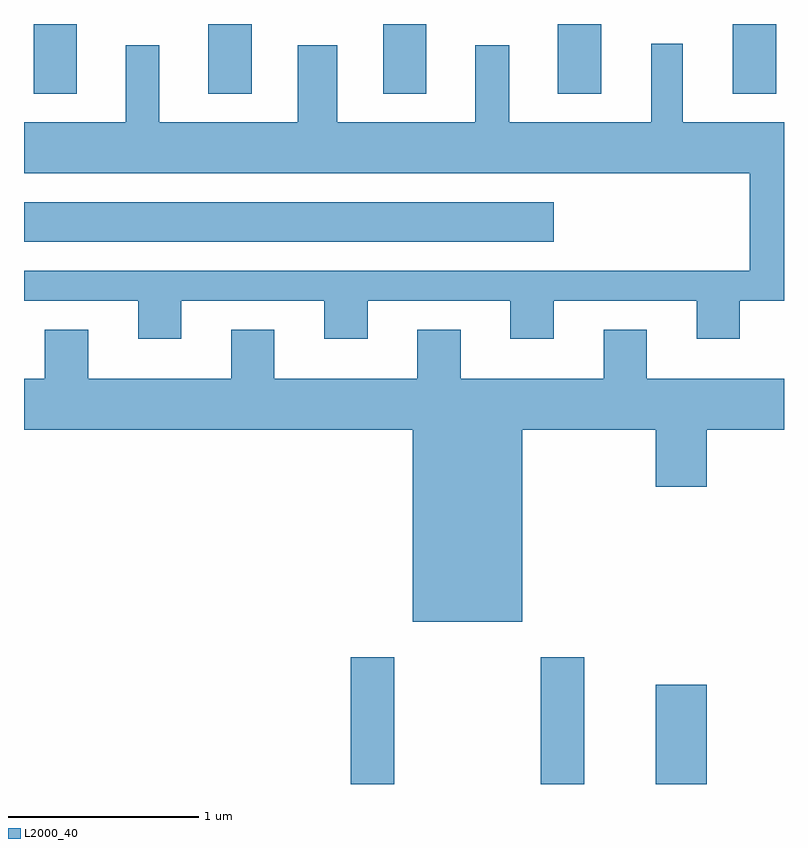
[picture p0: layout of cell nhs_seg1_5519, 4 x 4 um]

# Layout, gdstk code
import gdstk
lib = gdstk.Library(unit=1e-6, precision=1e-09)
def R(c, l, rs):  # rectangles x0, y0, x1, y1
    for r in rs: c.add(gdstk.rectangle(r[:2], r[2:], *l))
def A(c, l, x, y, w, h, nx, ny, dx, dy):  # array of equal rectangles
    R(c, l, [(x+i*dx, y+j*dy, x+i*dx+w, y+j*dy+h) for i in range(nx) for j in range(ny)])
def P(c, l, *ps):  # polygons
    for p in ps: c.add(gdstk.Polygon(p, *l))
L2000_40 = (2000, 40)

nhs_seg1_5519 = lib.new_cell('nhs_seg1_5519')
A(nhs_seg1_5519, L2000_40, 351.661, 901.346, 0.228, 0.366, 5, 1, 0.92, 0)
R(nhs_seg1_5519, L2000_40, [(353.331,897.712,353.559,898.379), (354.331,897.712,354.559,898.379), (354.936,897.712,355.204,898.234), (351.611,900.566,354.399,900.774)])
P(nhs_seg1_5519, L2000_40, [(352.439,900.256),(353.191,900.256),(353.191,900.056),(353.419,900.056),(353.419,900.256),(354.171,900.256),(354.171,900.056),(354.399,900.056),(354.399,900.256),(355.151,900.256),(355.151,900.056),(355.379,900.056),(355.379,900.256),(355.611,900.256),(355.611,901.194),(355.079,901.194),(355.079,901.608),(354.911,901.608),(354.911,901.194),(354.164,901.194),(354.164,901.599),(353.986,901.599),(353.986,901.194),(353.259,901.194),(353.259,901.599),(353.051,901.599),(353.051,901.194),(352.324,901.194),(352.324,901.599),(352.146,901.599),(352.146,901.194),(351.611,901.194),(351.611,900.926),(355.431,900.926),(355.431,900.414),(351.611,900.414),(351.611,900.256),(352.211,900.256),(352.211,900.056),(352.439,900.056)],
  [(354.234,899.576),(354.936,899.576),(354.936,899.276),(355.204,899.276),(355.204,899.576),(355.611,899.576),(355.611,899.844),(354.889,899.844),(354.889,900.104),(354.661,900.104),(354.661,899.844),(353.909,899.844),(353.909,900.104),(353.681,900.104),(353.681,899.844),(352.929,899.844),(352.929,900.104),(352.701,900.104),(352.701,899.844),(351.949,899.844),(351.949,900.104),(351.721,900.104),(351.721,899.844),(351.611,899.844),(351.611,899.576),(353.656,899.576),(353.656,898.566),(354.234,898.566)])

lib.write_gds('nhs_seg1_5519.gds')
